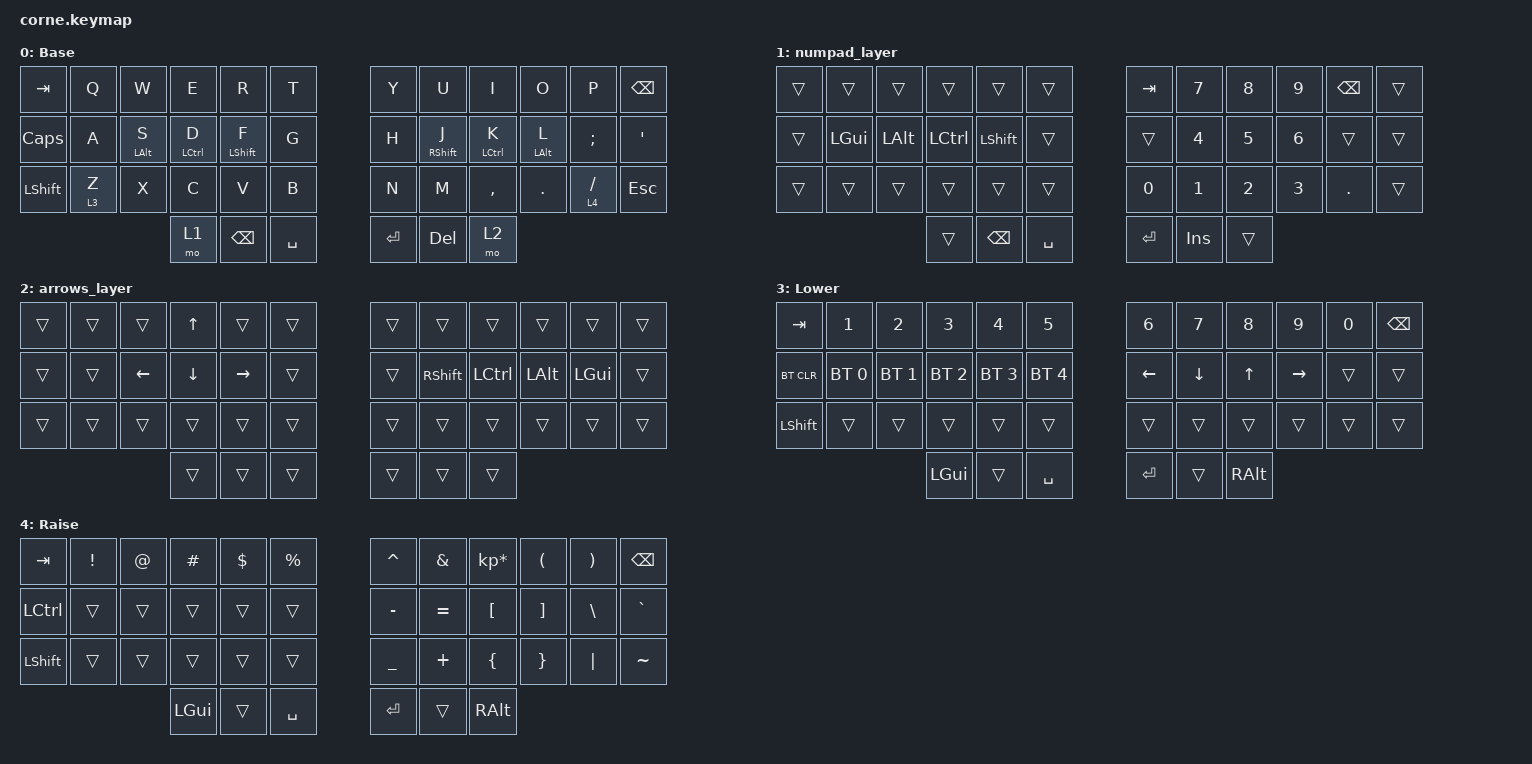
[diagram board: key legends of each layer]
/*
 * Copyright (c) 2020 The ZMK Contributors
 *
 * SPDX-License-Identifier: MIT
 */

#include <behaviors.dtsi>
#include <dt-bindings/zmk/bt.h>
#include <dt-bindings/zmk/keys.h>

/ {
    keymap {
        compatible = "zmk,keymap";

        default_layer {
            // -----------------------------------------------------------------------------------------
            // |  TAB |  Q  |  W  |  E  |  R  |  T  |   |  Y  |  U   |  I  |  O  |  P  | BKSP |
            // | CTRL |  A  |  S  |  D  |  F  |  G  |   |  H  |  J   |  K  |  L  |  ;  |  '   |
            // | SHFT |  Z  |  X  |  C  |  V  |  B  |   |  N  |  M   |  ,  |  .  |  /  | ESC  |
            //                    | GUI | LWR | SPC |   | ENT | RSE  | ALT |

            display-name = "Base";
            bindings = <
&kp TAB    &kp Q    &kp W           &kp E        &kp R             &kp T        &kp Y    &kp U              &kp I        &kp O           &kp P        &kp BSPC
&kp CAPS   &kp A    &mt LEFT_ALT S  &mt LCTRL D  &mt LEFT_SHIFT F  &kp G        &kp H    &mt RIGHT_SHIFT J  &mt LCTRL K  &mt LEFT_ALT L  &kp SEMI     &kp SQT
&kp LSHFT  &lt 3 Z  &kp X           &kp C        &kp V             &kp B        &kp N    &kp M              &kp COMMA    &kp DOT         &lt 4 SLASH  &kp ESC
                                    &mo 1        &kp BACKSPACE     &kp SPACE    &kp RET  &kp DELETE         &mo 2
            >;
        };

        numpad_layer {
            bindings = <
&trans  &trans    &trans    &trans     &trans     &trans       &kp TAB  &kp N7   &kp N8  &kp N9  &kp BSPC  &trans
&trans  &kp LGUI  &kp LALT  &kp LCTRL  &kp LSHFT  &trans       &trans   &kp N4   &kp N5  &kp N6  &trans    &trans
&trans  &trans    &trans    &trans     &trans     &trans       &kp N0   &kp N1   &kp N2  &kp N3  &kp DOT   &trans
                            &trans     &kp BSPC   &kp SPACE    &kp RET  &kp INS  &trans
            >;
        };

        arrows_layer {
            bindings = <
&trans  &trans  &trans    &kp UP    &trans     &trans    &trans  &trans     &trans     &trans    &trans    &trans
&trans  &trans  &kp LEFT  &kp DOWN  &kp RIGHT  &trans    &trans  &kp RSHFT  &kp LCTRL  &kp LALT  &kp LGUI  &trans
&trans  &trans  &trans    &trans    &trans     &trans    &trans  &trans     &trans     &trans    &trans    &trans
                          &trans    &trans     &trans    &trans  &trans     &trans
            >;
        };

        lower_layer {
            // -----------------------------------------------------------------------------------------
            // |  TAB |  1  |  2  |  3  |  4  |  5  |   |  6  |  7  |  8  |  9  |  0  | BKSP |
            // | BTCLR| BT1 | BT2 | BT3 | BT4 | BT5 |   | LFT | DWN |  UP | RGT |     |      |
            // | SHFT |     |     |     |     |     |   |     |     |     |     |     |      |
            //                    | GUI |     | SPC |   | ENT |     | ALT |

            display-name = "Lower";
            bindings = <
&kp TAB     &kp N1        &kp N2        &kp N3        &kp N4        &kp N5          &kp N6    &kp N7    &kp N8    &kp N9     &kp N0  &kp BSPC
&bt BT_CLR  &bt BT_SEL 0  &bt BT_SEL 1  &bt BT_SEL 2  &bt BT_SEL 3  &bt BT_SEL 4    &kp LEFT  &kp DOWN  &kp UP    &kp RIGHT  &trans  &trans
&kp LSHFT   &trans        &trans        &trans        &trans        &trans          &trans    &trans    &trans    &trans     &trans  &trans
                                        &kp LGUI      &trans        &kp SPACE       &kp RET   &trans    &kp RALT
            >;
        };

        raise_layer {
            // -----------------------------------------------------------------------------------------
            // |  TAB |  !  |  @  |  #  |  $  |  %  |   |  ^  |  &  |  *  |  (  |  )  | BKSP |
            // | CTRL |     |     |     |     |     |   |  -  |  =  |  [  |  ]  |  \  |  `   |
            // | SHFT |     |     |     |     |     |   |  _  |  +  |  {  |  }  | "|" |  ~   |
            //                    | GUI |     | SPC |   | ENT |     | ALT |

            display-name = "Raise";
            bindings = <
&kp TAB    &kp EXCL  &kp AT  &kp HASH  &kp DLLR  &kp PRCNT    &kp CARET  &kp AMPS   &kp KP_MULTIPLY  &kp LPAR  &kp RPAR  &kp BSPC
&kp LCTRL  &trans    &trans  &trans    &trans    &trans       &kp MINUS  &kp EQUAL  &kp LBKT         &kp RBKT  &kp BSLH  &kp GRAVE
&kp LSHFT  &trans    &trans  &trans    &trans    &trans       &kp UNDER  &kp PLUS   &kp LBRC         &kp RBRC  &kp PIPE  &kp TILDE
                             &kp LGUI  &trans    &kp SPACE    &kp RET    &trans     &kp RALT
            >;
        };
    };
};
